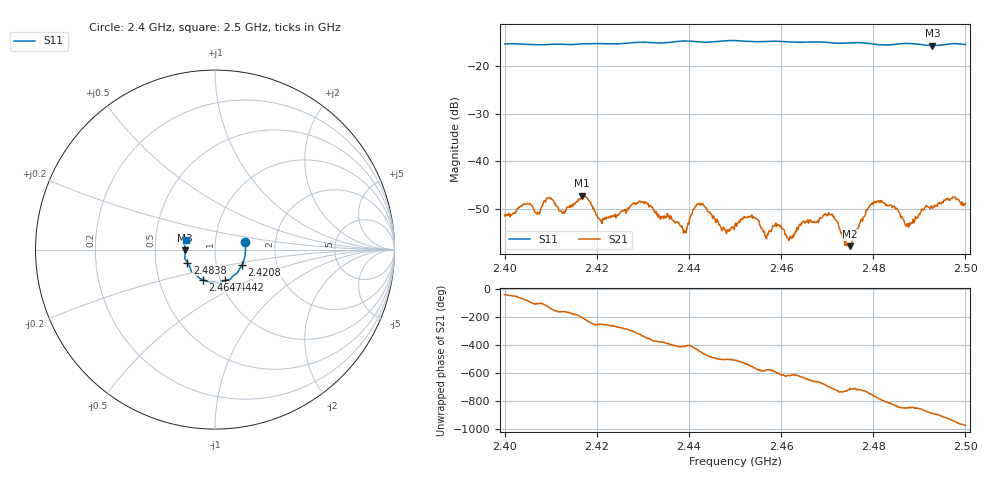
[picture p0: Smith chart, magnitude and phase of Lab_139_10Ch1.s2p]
# Hz S RI R 50
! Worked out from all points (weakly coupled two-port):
!   601 points, 2.4 GHz to 2.5 GHz, reference 50 ohm
!   highest |S21| = -47.28 dB at 2.4168 GHz (marker M1); lowest = -57.9 dB at 2.475 GHz (marker M2)
!   lowest |S11| = -15.6 dB at 2.4928 GHz (marker M3), VSWR 1.40, Z = 35.8 - j0.348 ohm
!   |S11| at or under -10 dB: start of sweep to end of sweep
!   S12 and S22 are empty: the file has one direction only
!   S11 on the Smith chart (normalised r, x): 2.4 GHz: 1.40, +0.12; 2.4208 GHz: 1.33, -0.24; 2.4442 GHz: 1.05, -0.37; 2.4647 GHz: 0.83, -0.29; 2.4838 GHz: 0.73, -0.11; 2.5 GHz: 0.72, +0.08
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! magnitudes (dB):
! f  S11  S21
! 2.4 GHz  -15.3  -51.5
! 2.4167 GHz  -15.2  -47.5
! 2.4168 GHz  -15.2  -47.3
! 2.4208 GHz  -15.2  -52.7
! 2.4295 GHz  -14.9  -48.6
! 2.4333 GHz  -15.0  -51.9
! 2.4392 GHz  -14.6  -54.8
! 2.4418 GHz  -14.8  -49.2
! 2.4442 GHz  -14.9  -50.7
! 2.45 GHz  -14.5  -53.3
! 2.4537 GHz  -14.8  -51.3
! 2.4618 GHz  -14.8  -56.2
! 2.4647 GHz  -14.9  -52.8
! 2.4667 GHz  -14.8  -52.9
! 2.4708 GHz  -15.0  -51.4
! 2.475 GHz  -15.0  -57.9
! 2.4793 GHz  -15.2  -49.2
! 2.4833 GHz  -15.5  -49.4
! 2.4838 GHz  -15.4  -49.2
! 2.4875 GHz  -15.2  -53.3
! 2.4928 GHz  -15.6  -50.0
! 2.5 GHz  -15.4  -48.9
